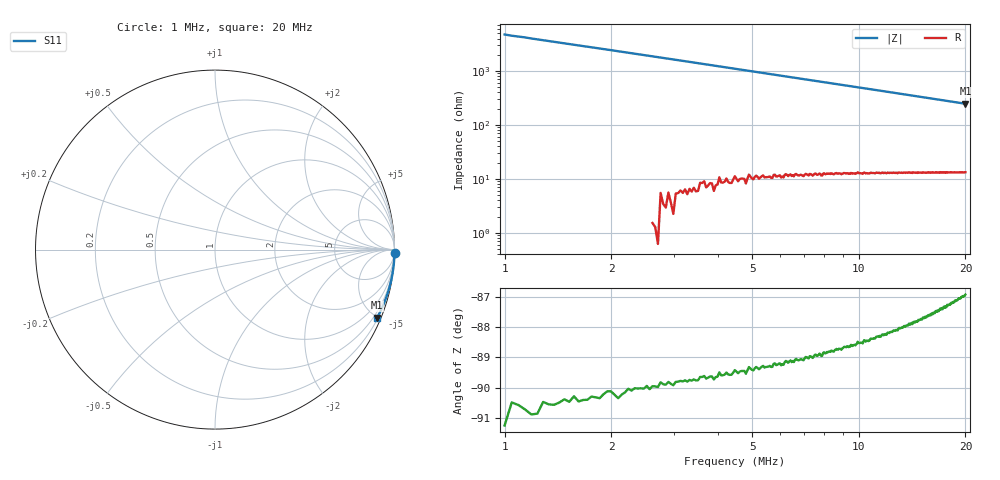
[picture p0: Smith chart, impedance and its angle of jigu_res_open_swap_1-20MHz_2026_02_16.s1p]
# HZ S RI R 50
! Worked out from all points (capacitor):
!   401 points, 1 MHz to 20 MHz, reference 50 ohm
!   read as one part to ground: C = 32.9 pF near 1.095 MHz
!   lowest |Z| = 247 ohm at 20 MHz (marker M1)
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1000000  1 -0.021
1047500  0.9999 -0.0221
1095000  1 -0.023
2140000  0.9992 -0.0439
3375000  0.9974 -0.0684
3897500  0.9965 -0.0789
4705000  0.9946 -0.0948
5750000  0.9917 -0.1155
6035000  0.9911 -0.121
6890000  0.9882 -0.1378
7792500  0.9848 -0.1554
8125000  0.9834 -0.162
8932500  0.9801 -0.1776
9692500  0.9765 -0.1923
1.05e7  0.9724 -0.2078
1.10225e7  0.9696 -0.2177
1.18775e7  0.9648 -0.2339
1.2875e7  0.9589 -0.2527
1.40625e7  0.9509 -0.2747
1.468e7  0.9466 -0.2862
1.525e7  0.9425 -0.2964
1.5535e7  0.9405 -0.3016
1.62475e7  0.9348 -0.3145
1.7625e7  0.9238 -0.3388
1.8575e7  0.9156 -0.3557
1.88125e7  0.9135 -0.3597
1.9905e7  0.9036 -0.3785
2e7  0.9026 -0.38
